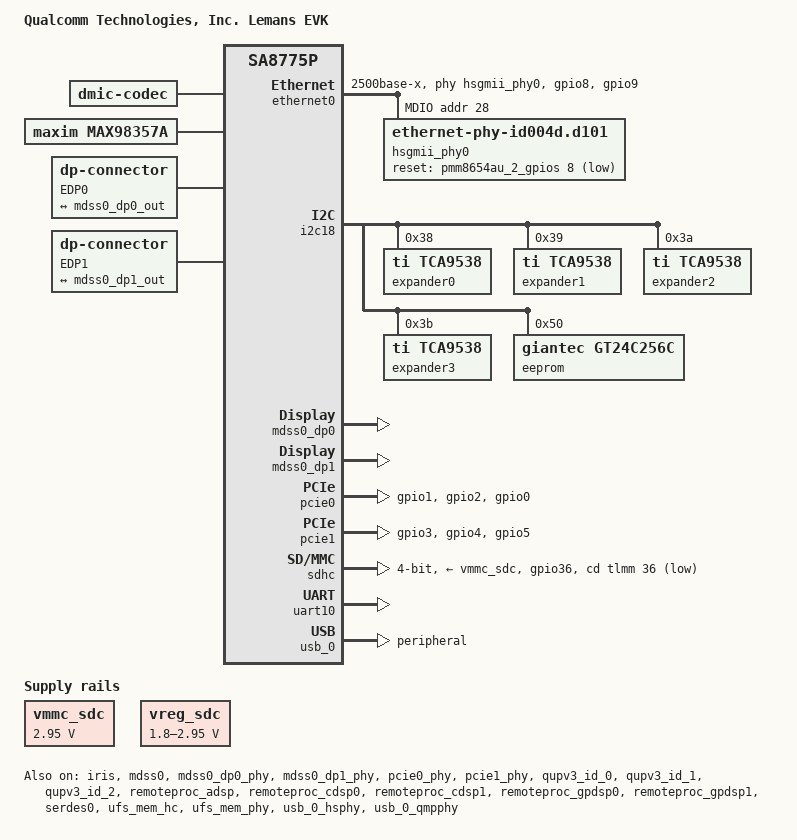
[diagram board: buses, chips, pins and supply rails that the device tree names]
// SPDX-License-Identifier: BSD-3-Clause
/*
 * Copyright (c) 2024-2025, Qualcomm Innovation Center, Inc. All rights reserved.
 */

/dts-v1/;

#include <dt-bindings/gpio/gpio.h>
#include <dt-bindings/sound/qcom,q6afe.h>
#include <dt-bindings/regulator/qcom,rpmh-regulator.h>

#include "lemans.dtsi"
#include "lemans-pmics.dtsi"

/ {
	model = "Qualcomm Technologies, Inc. Lemans EVK";
	compatible = "qcom,lemans-evk", "qcom,qcs9100", "qcom,sa8775p";

	aliases {
		ethernet0 = &ethernet0;
		mmc1 = &sdhc;
		serial0 = &uart10;
	};

	dmic: audio-codec-0 {
		compatible = "dmic-codec";
		#sound-dai-cells = <0>;
		num-channels = <1>;
	};

	max98357a: audio-codec-1 {
		compatible = "maxim,max98357a";
		#sound-dai-cells = <0>;
	};

	chosen {
		stdout-path = "serial0:115200n8";
	};

	edp0-connector {
		compatible = "dp-connector";
		label = "EDP0";
		type = "mini";

		port {
			edp0_connector_in: endpoint {
				remote-endpoint = <&mdss0_dp0_out>;
			};
		};
	};

	edp1-connector {
		compatible = "dp-connector";
		label = "EDP1";
		type = "mini";

		port {
			edp1_connector_in: endpoint {
				remote-endpoint = <&mdss0_dp1_out>;
			};
		};
	};

	sound {
		compatible = "qcom,qcs9100-sndcard";
		model = "LEMANS-EVK";

		pinctrl-0 = <&hs0_mi2s_active>, <&hs2_mi2s_active>;
		pinctrl-names = "default";

		hs0-mi2s-playback-dai-link {
			link-name = "HS0 MI2S Playback";

			codec {
				sound-dai = <&max98357a>;
			};

			cpu {
				sound-dai = <&q6apmbedai PRIMARY_MI2S_RX>;
			};

			platform {
				sound-dai = <&q6apm>;
			};
		};

		hs2-mi2s-capture-dai-link {
			link-name = "HS2 MI2S Capture";

			codec {
				sound-dai = <&dmic>;
			};

			cpu {
				sound-dai = <&q6apmbedai TERTIARY_MI2S_TX>;
			};

			platform {
				sound-dai = <&q6apm>;
			};
		};
	};

	vmmc_sdc: regulator-vmmc-sdc {
		compatible = "regulator-fixed";

		regulator-name = "vmmc_sdc";
		regulator-min-microvolt = <2950000>;
		regulator-max-microvolt = <2950000>;
	};

	vreg_sdc: regulator-vreg-sdc {
		compatible = "regulator-gpio";

		regulator-name = "vreg_sdc";
		regulator-type = "voltage";
		regulator-min-microvolt = <1800000>;
		regulator-max-microvolt = <2950000>;

		gpios = <&expander1 7 GPIO_ACTIVE_HIGH>;
		states = <1800000 1>, <2950000 0>;

		startup-delay-us = <100>;
	};
};

&apps_rsc {
	regulators-0 {
		compatible = "qcom,pmm8654au-rpmh-regulators";
		qcom,pmic-id = "a";

		vreg_s4a: smps4 {
			regulator-name = "vreg_s4a";
			regulator-min-microvolt = <1800000>;
			regulator-max-microvolt = <1816000>;
			regulator-initial-mode = <RPMH_REGULATOR_MODE_HPM>;
		};

		vreg_s5a: smps5 {
			regulator-name = "vreg_s5a";
			regulator-min-microvolt = <1850000>;
			regulator-max-microvolt = <1996000>;
			regulator-initial-mode = <RPMH_REGULATOR_MODE_HPM>;
		};

		vreg_s9a: smps9 {
			regulator-name = "vreg_s9a";
			regulator-min-microvolt = <535000>;
			regulator-max-microvolt = <1120000>;
			regulator-initial-mode = <RPMH_REGULATOR_MODE_HPM>;
		};

		vreg_l4a: ldo4 {
			regulator-name = "vreg_l4a";
			regulator-min-microvolt = <788000>;
			regulator-max-microvolt = <1050000>;
			regulator-initial-mode = <RPMH_REGULATOR_MODE_HPM>;
			regulator-allow-set-load;
			regulator-allowed-modes = <RPMH_REGULATOR_MODE_LPM
						   RPMH_REGULATOR_MODE_HPM>;
		};

		vreg_l5a: ldo5 {
			regulator-name = "vreg_l5a";
			regulator-min-microvolt = <870000>;
			regulator-max-microvolt = <950000>;
			regulator-initial-mode = <RPMH_REGULATOR_MODE_HPM>;
			regulator-allow-set-load;
			regulator-allowed-modes = <RPMH_REGULATOR_MODE_LPM
						   RPMH_REGULATOR_MODE_HPM>;
		};

		vreg_l6a: ldo6 {
			regulator-name = "vreg_l6a";
			regulator-min-microvolt = <870000>;
			regulator-max-microvolt = <970000>;
			regulator-initial-mode = <RPMH_REGULATOR_MODE_HPM>;
			regulator-allow-set-load;
			regulator-allowed-modes = <RPMH_REGULATOR_MODE_LPM
						   RPMH_REGULATOR_MODE_HPM>;
		};

		vreg_l7a: ldo7 {
			regulator-name = "vreg_l7a";
			regulator-min-microvolt = <720000>;
			regulator-max-microvolt = <950000>;
			regulator-initial-mode = <RPMH_REGULATOR_MODE_HPM>;
			regulator-allow-set-load;
			regulator-allowed-modes = <RPMH_REGULATOR_MODE_LPM
						   RPMH_REGULATOR_MODE_HPM>;
		};

		vreg_l8a: ldo8 {
			regulator-name = "vreg_l8a";
			regulator-min-microvolt = <2504000>;
			regulator-max-microvolt = <3300000>;
			regulator-initial-mode = <RPMH_REGULATOR_MODE_HPM>;
			regulator-allow-set-load;
			regulator-allowed-modes = <RPMH_REGULATOR_MODE_LPM
						   RPMH_REGULATOR_MODE_HPM>;
		};

		vreg_l9a: ldo9 {
			regulator-name = "vreg_l9a";
			regulator-min-microvolt = <2970000>;
			regulator-max-microvolt = <3544000>;
			regulator-initial-mode = <RPMH_REGULATOR_MODE_HPM>;
			regulator-allow-set-load;
			regulator-allowed-modes = <RPMH_REGULATOR_MODE_LPM
						   RPMH_REGULATOR_MODE_HPM>;
		};
	};

	regulators-1 {
		compatible = "qcom,pmm8654au-rpmh-regulators";
		qcom,pmic-id = "c";

		vreg_l1c: ldo1 {
			regulator-name = "vreg_l1c";
			regulator-min-microvolt = <1140000>;
			regulator-max-microvolt = <1260000>;
			regulator-initial-mode = <RPMH_REGULATOR_MODE_HPM>;
			regulator-allow-set-load;
			regulator-allowed-modes = <RPMH_REGULATOR_MODE_LPM
						   RPMH_REGULATOR_MODE_HPM>;
		};

		vreg_l2c: ldo2 {
			regulator-name = "vreg_l2c";
			regulator-min-microvolt = <900000>;
			regulator-max-microvolt = <1100000>;
			regulator-initial-mode = <RPMH_REGULATOR_MODE_HPM>;
			regulator-allow-set-load;
			regulator-allowed-modes = <RPMH_REGULATOR_MODE_LPM
						   RPMH_REGULATOR_MODE_HPM>;
		};

		vreg_l3c: ldo3 {
			regulator-name = "vreg_l3c";
			regulator-min-microvolt = <1100000>;
			regulator-max-microvolt = <1300000>;
			regulator-initial-mode = <RPMH_REGULATOR_MODE_HPM>;
			regulator-allow-set-load;
			regulator-allowed-modes = <RPMH_REGULATOR_MODE_LPM
						   RPMH_REGULATOR_MODE_HPM>;
		};

		vreg_l4c: ldo4 {
			regulator-name = "vreg_l4c";
			regulator-min-microvolt = <1200000>;
			regulator-max-microvolt = <1200000>;
			regulator-initial-mode = <RPMH_REGULATOR_MODE_HPM>;
			regulator-allow-set-load;
			regulator-allowed-modes = <RPMH_REGULATOR_MODE_LPM
						   RPMH_REGULATOR_MODE_HPM>;
		};

		vreg_l5c: ldo5 {
			regulator-name = "vreg_l5c";
			regulator-min-microvolt = <1100000>;
			regulator-max-microvolt = <1300000>;
			regulator-initial-mode = <RPMH_REGULATOR_MODE_HPM>;
			regulator-allow-set-load;
			regulator-allowed-modes = <RPMH_REGULATOR_MODE_LPM
						   RPMH_REGULATOR_MODE_HPM>;
		};

		vreg_l6c: ldo6 {
			regulator-name = "vreg_l6c";
			regulator-min-microvolt = <1620000>;
			regulator-max-microvolt = <1980000>;
			regulator-initial-mode = <RPMH_REGULATOR_MODE_HPM>;
			regulator-allow-set-load;
			regulator-allowed-modes = <RPMH_REGULATOR_MODE_LPM
						   RPMH_REGULATOR_MODE_HPM>;
		};

		vreg_l7c: ldo7 {
			regulator-name = "vreg_l7c";
			regulator-min-microvolt = <1620000>;
			regulator-max-microvolt = <2000000>;
			regulator-initial-mode = <RPMH_REGULATOR_MODE_HPM>;
			regulator-allow-set-load;
			regulator-allowed-modes = <RPMH_REGULATOR_MODE_LPM
						   RPMH_REGULATOR_MODE_HPM>;
		};

		vreg_l8c: ldo8 {
			regulator-name = "vreg_l8c";
			regulator-min-microvolt = <2400000>;
			regulator-max-microvolt = <3300000>;
			regulator-initial-mode = <RPMH_REGULATOR_MODE_HPM>;
			regulator-allow-set-load;
			regulator-allowed-modes = <RPMH_REGULATOR_MODE_LPM
						   RPMH_REGULATOR_MODE_HPM>;
		};

		vreg_l9c: ldo9 {
			regulator-name = "vreg_l9c";
			regulator-min-microvolt = <1650000>;
			regulator-max-microvolt = <2700000>;
			regulator-initial-mode = <RPMH_REGULATOR_MODE_HPM>;
			regulator-allow-set-load;
			regulator-allowed-modes = <RPMH_REGULATOR_MODE_LPM
						   RPMH_REGULATOR_MODE_HPM>;
		};
	};

	regulators-2 {
		compatible = "qcom,pmm8654au-rpmh-regulators";
		qcom,pmic-id = "e";

		vreg_s4e: smps4 {
			regulator-name = "vreg_s4e";
			regulator-min-microvolt = <970000>;
			regulator-max-microvolt = <1520000>;
			regulator-initial-mode = <RPMH_REGULATOR_MODE_HPM>;
		};

		vreg_s7e: smps7 {
			regulator-name = "vreg_s7e";
			regulator-min-microvolt = <1010000>;
			regulator-max-microvolt = <1170000>;
			regulator-initial-mode = <RPMH_REGULATOR_MODE_HPM>;
		};

		vreg_s9e: smps9 {
			regulator-name = "vreg_s9e";
			regulator-min-microvolt = <300000>;
			regulator-max-microvolt = <570000>;
			regulator-initial-mode = <RPMH_REGULATOR_MODE_HPM>;
		};

		vreg_l6e: ldo6 {
			regulator-name = "vreg_l6e";
			regulator-min-microvolt = <1280000>;
			regulator-max-microvolt = <1450000>;
			regulator-initial-mode = <RPMH_REGULATOR_MODE_HPM>;
			regulator-allow-set-load;
			regulator-allowed-modes = <RPMH_REGULATOR_MODE_LPM
						   RPMH_REGULATOR_MODE_HPM>;
		};

		vreg_l8e: ldo8 {
			regulator-name = "vreg_l8e";
			regulator-min-microvolt = <1800000>;
			regulator-max-microvolt = <1950000>;
			regulator-initial-mode = <RPMH_REGULATOR_MODE_HPM>;
			regulator-allow-set-load;
			regulator-allowed-modes = <RPMH_REGULATOR_MODE_LPM
						   RPMH_REGULATOR_MODE_HPM>;
		};
	};
};

&ethernet0 {
	phy-handle = <&hsgmii_phy0>;
	phy-mode = "2500base-x";

	pinctrl-0 = <&ethernet0_default>;
	pinctrl-names = "default";

	snps,mtl-rx-config = <&mtl_rx_setup>;
	snps,mtl-tx-config = <&mtl_tx_setup>;

	nvmem-cells = <&mac_addr0>;
	nvmem-cell-names = "mac-address";

	status = "okay";

	mdio {
		compatible = "snps,dwmac-mdio";
		#address-cells = <1>;
		#size-cells = <0>;

		hsgmii_phy0: ethernet-phy@1c {
			compatible = "ethernet-phy-id004d.d101";
			reg = <0x1c>;
			reset-gpios = <&pmm8654au_2_gpios 8 GPIO_ACTIVE_LOW>;
			reset-assert-us = <11000>;
			reset-deassert-us = <70000>;
		};
	};

	mtl_rx_setup: rx-queues-config {
		snps,rx-queues-to-use = <4>;
		snps,rx-sched-sp;

		queue0 {
			snps,dcb-algorithm;
			snps,map-to-dma-channel = <0x0>;
			snps,route-up;
			snps,priority = <0x1>;
		};

		queue1 {
			snps,dcb-algorithm;
			snps,map-to-dma-channel = <0x1>;
			snps,route-ptp;
		};

		queue2 {
			snps,avb-algorithm;
			snps,map-to-dma-channel = <0x2>;
			snps,route-avcp;
		};

		queue3 {
			snps,avb-algorithm;
			snps,map-to-dma-channel = <0x3>;
			snps,priority = <0xc>;
		};
	};

	mtl_tx_setup: tx-queues-config {
		snps,tx-queues-to-use = <4>;

		queue0 {
			snps,dcb-algorithm;
		};

		queue1 {
			snps,dcb-algorithm;
		};

		queue2 {
			snps,avb-algorithm;
			snps,send_slope = <0x1000>;
			snps,idle_slope = <0x1000>;
			snps,high_credit = <0x3e800>;
			snps,low_credit = <0xffc18000>;
		};

		queue3 {
			snps,avb-algorithm;
			snps,send_slope = <0x1000>;
			snps,idle_slope = <0x1000>;
			snps,high_credit = <0x3e800>;
			snps,low_credit = <0xffc18000>;
		};
	};
};

&gpi_dma0 {
	status = "okay";
};

&gpi_dma1 {
	status = "okay";
};

&gpi_dma2 {
	status = "okay";
};

&i2c18 {
	status = "okay";

	expander0: gpio@38 {
		compatible = "ti,tca9538";
		reg = <0x38>;
		#gpio-cells = <2>;
		gpio-controller;
	};

	expander1: gpio@39 {
		compatible = "ti,tca9538";
		reg = <0x39>;
		#gpio-cells = <2>;
		gpio-controller;
	};

	expander2: gpio@3a {
		compatible = "ti,tca9538";
		reg = <0x3a>;
		#gpio-cells = <2>;
		gpio-controller;
	};

	expander3: gpio@3b {
		compatible = "ti,tca9538";
		reg = <0x3b>;
		#gpio-cells = <2>;
		gpio-controller;
	};

	eeprom@50 {
		compatible = "giantec,gt24c256c", "atmel,24c256";
		reg = <0x50>;
		pagesize = <64>;

		nvmem-layout {
			compatible = "fixed-layout";
			#address-cells = <1>;
			#size-cells = <1>;

			mac_addr0: mac-addr@0 {
				reg = <0x0 0x6>;
			};
		};
	};
};

&iris {
	firmware-name = "qcom/vpu/vpu30_p4_s6_16mb.mbn";

	status = "okay";
};

&mdss0 {
	status = "okay";
};

&mdss0_dp0 {
	pinctrl-0 = <&dp0_hot_plug_det>;
	pinctrl-names = "default";

	status = "okay";
};

&mdss0_dp0_out {
	data-lanes = <0 1 2 3>;
	link-frequencies = /bits/ 64 <1620000000 2700000000 5400000000 8100000000>;

	remote-endpoint = <&edp0_connector_in>;
};

&mdss0_dp0_phy {
	vdda-phy-supply = <&vreg_l1c>;
	vdda-pll-supply = <&vreg_l4a>;

	status = "okay";
};

&mdss0_dp1 {
	pinctrl-0 = <&dp1_hot_plug_det>;
	pinctrl-names = "default";

	status = "okay";
};

&mdss0_dp1_out {
	data-lanes = <0 1 2 3>;
	link-frequencies = /bits/ 64 <1620000000 2700000000 5400000000 8100000000>;

	remote-endpoint = <&edp1_connector_in>;
};

&mdss0_dp1_phy {
	vdda-phy-supply = <&vreg_l1c>;
	vdda-pll-supply = <&vreg_l4a>;

	status = "okay";
};

&pcie0 {
	perst-gpios = <&tlmm 2 GPIO_ACTIVE_LOW>;
	wake-gpios = <&tlmm 0 GPIO_ACTIVE_HIGH>;

	pinctrl-0 = <&pcie0_default_state>;
	pinctrl-names = "default";

	status = "okay";
};

&pcie0_phy {
	vdda-phy-supply = <&vreg_l5a>;
	vdda-pll-supply = <&vreg_l1c>;

	status = "okay";
};

&pcie1 {
	perst-gpios = <&tlmm 4 GPIO_ACTIVE_LOW>;
	wake-gpios = <&tlmm 5 GPIO_ACTIVE_HIGH>;

	pinctrl-0 = <&pcie1_default_state>;
	pinctrl-names = "default";

	status = "okay";
};

&pcie1_phy {
	vdda-phy-supply = <&vreg_l5a>;
	vdda-pll-supply = <&vreg_l1c>;

	status = "okay";
};

&qupv3_id_0 {
	status = "okay";
};

&qupv3_id_1 {
	status = "okay";
};

&qupv3_id_2 {
	status = "okay";
};

&remoteproc_adsp {
	firmware-name = "qcom/sa8775p/adsp.mbn";

	status = "okay";
};

&remoteproc_cdsp0 {
	firmware-name = "qcom/sa8775p/cdsp0.mbn";

	status = "okay";
};

&remoteproc_cdsp1 {
	firmware-name = "qcom/sa8775p/cdsp1.mbn";

	status = "okay";
};

&remoteproc_gpdsp0 {
	firmware-name = "qcom/sa8775p/gpdsp0.mbn";

	status = "okay";
};

&remoteproc_gpdsp1 {
	firmware-name = "qcom/sa8775p/gpdsp1.mbn";

	status = "okay";
};

&sdhc {
	vmmc-supply = <&vmmc_sdc>;
	vqmmc-supply = <&vreg_sdc>;

	pinctrl-0 = <&sdc_default>, <&sd_cd>;
	pinctrl-1 = <&sdc_sleep>, <&sd_cd>;
	pinctrl-names = "default", "sleep";

	bus-width = <4>;
	cd-gpios = <&tlmm 36 GPIO_ACTIVE_LOW>;
	no-mmc;
	no-sdio;

	status = "okay";
};

&serdes0 {
	phy-supply = <&vreg_l5a>;

	status = "okay";
};

&sleep_clk {
	clock-frequency = <32768>;
};

&tlmm {
	ethernet0_default: ethernet0-default-state {
		ethernet0_mdc: ethernet0-mdc-pins {
			pins = "gpio8";
			function = "emac0_mdc";
			drive-strength = <16>;
			bias-pull-up;
		};

		ethernet0_mdio: ethernet0-mdio-pins {
			pins = "gpio9";
			function = "emac0_mdio";
			drive-strength = <16>;
			bias-pull-up;
		};
	};

	pcie0_default_state: pcie0-default-state {
		clkreq-pins {
			pins = "gpio1";
			function = "pcie0_clkreq";
			drive-strength = <2>;
			bias-pull-up;
		};

		perst-pins {
			pins = "gpio2";
			function = "gpio";
			drive-strength = <2>;
			bias-pull-up;
		};

		wake-pins {
			pins = "gpio0";
			function = "gpio";
			drive-strength = <2>;
			bias-pull-up;
		};
	};

	pcie1_default_state: pcie1-default-state {
		clkreq-pins {
			pins = "gpio3";
			function = "pcie1_clkreq";
			drive-strength = <2>;
			bias-pull-up;
		};

		perst-pins {
			pins = "gpio4";
			function = "gpio";
			drive-strength = <2>;
			bias-pull-up;
		};

		wake-pins {
			pins = "gpio5";
			function = "gpio";
			drive-strength = <2>;
			bias-pull-up;
		};
	};

	sd_cd: sd-cd-state {
		pins = "gpio36";
		function = "gpio";
		bias-pull-up;
	};
};

&uart10 {
	compatible = "qcom,geni-debug-uart";
	pinctrl-0 = <&qup_uart10_default>;
	pinctrl-names = "default";

	status = "okay";
};

&ufs_mem_hc {
	reset-gpios = <&tlmm 149 GPIO_ACTIVE_LOW>;
	vcc-supply = <&vreg_l8a>;
	vcc-max-microamp = <1100000>;
	vccq-supply = <&vreg_l4c>;
	vccq-max-microamp = <1200000>;

	status = "okay";
};

&ufs_mem_phy {
	vdda-phy-supply = <&vreg_l4a>;
	vdda-pll-supply = <&vreg_l1c>;

	status = "okay";
};

&usb_0 {
	dr_mode = "peripheral";

	status = "okay";
};

&usb_0_hsphy {
	vdda-pll-supply = <&vreg_l7a>;
	vdda18-supply = <&vreg_l6c>;
	vdda33-supply = <&vreg_l9a>;

	status = "okay";
};

&usb_0_qmpphy {
	vdda-phy-supply = <&vreg_l1c>;
	vdda-pll-supply = <&vreg_l7a>;

	status = "okay";
};

&xo_board_clk {
	clock-frequency = <38400000>;
};
